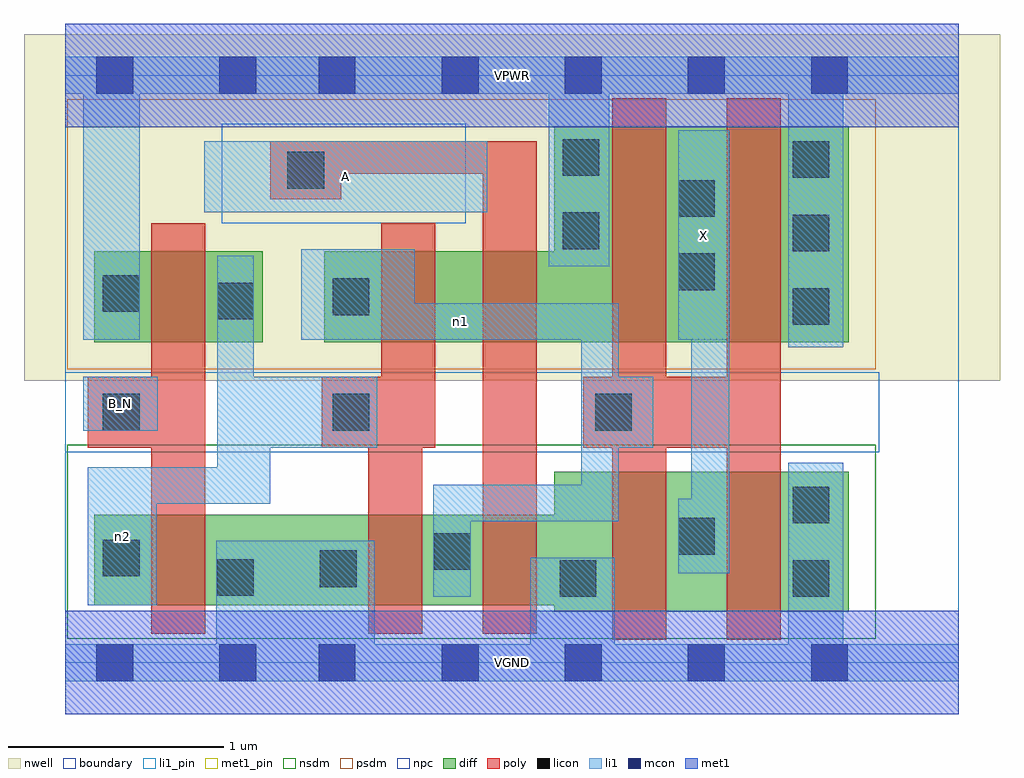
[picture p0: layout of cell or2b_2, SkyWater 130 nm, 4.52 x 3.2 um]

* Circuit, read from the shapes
.subckt or2b_2 A B_N VGND VPWR X n1 n2
XM1 VGND B_N n2 VSUBS sky130_fd_pr__nfet_01v8 w=0.42 l=0.25
XM2 n1 n2 VGND VSUBS sky130_fd_pr__nfet_01v8 w=0.42 l=0.25
XM3 VGND A n1 VSUBS sky130_fd_pr__nfet_01v8 w=0.42 l=0.25
XM4 X n1 VGND VSUBS sky130_fd_pr__nfet_01v8 w=0.65 l=0.25 m=2
XM5 n2 B_N VPWR n3 sky130_fd_pr__pfet_01v8 w=0.42 l=0.25
XM6 n4 n2 n1 n3 sky130_fd_pr__pfet_01v8 w=0.42 l=0.25
XM7 VPWR A n4 n3 sky130_fd_pr__pfet_01v8 w=0.42 l=0.25
XM8 X n1 VPWR n3 sky130_fd_pr__pfet_01v8 w=1 l=0.25 m=2
.ends

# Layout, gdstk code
import gdstk
lib = gdstk.Library(unit=1e-6, precision=1e-09)
def R(c, l, rs):  # rectangles x0, y0, x1, y1
    for r in rs: c.add(gdstk.rectangle(r[:2], r[2:], *l))
def A(c, l, x, y, w, h, nx, ny, dx, dy):  # array of equal rectangles
    R(c, l, [(x+i*dx, y+j*dy, x+i*dx+w, y+j*dy+h) for i in range(nx) for j in range(ny)])
nwell = (64, 20)
diff = (65, 20)
poly = (66, 20)
licon = (66, 44)
li1_pin = (67, 16)
li1 = (67, 20)
mcon = (67, 44)
met1_pin = (68, 16)
met1 = (68, 20)
nsdm = (93, 44)
psdm = (94, 20)
npc = (95, 20)
boundary = (235, 4)

or2b_2 = lib.new_cell('or2b_2')
R(or2b_2, nwell, [(-0.19,1.305,4.33,2.91), (0,1.305,4.14,2.91)])
R(or2b_2, diff, [(2.265,0.235,3.63,0.885), (0.135,0.265,3.63,0.685), (0.135,1.485,0.915,1.905), (1.2,1.485,3.63,1.905), (2.265,1.485,3.63,2.485)])
R(or2b_2, poly, [(2.535,0.105,2.785,2.615), (3.065,0.105,3.315,2.615), (0.4,0.135,0.65,2.035), (1.405,0.135,1.655,1.325), (1.935,0.135,2.185,2.415), (0.105,0.995,0.65,1.325), (1.19,0.995,1.715,1.325), (1.465,0.995,1.715,2.035), (2.4,0.995,3.315,1.325), (0.95,2.145,1.28,2.415), (0.95,2.265,2.185,2.415)])
A(or2b_2, licon, 3.37, 1.565, 0.17, 0.17, 1, 3, 0, 0.34)
R(or2b_2, licon, [(2.29,0.305,2.46,0.475), (3.37,0.305,3.54,0.475), (0.705,0.31,0.875,0.48), (1.18,0.35,1.35,0.52), (0.175,0.4,0.345,0.57), (1.71,0.43,1.88,0.6), (2.84,0.5,3.01,0.67), (3.37,0.645,3.54,0.815), (0.175,1.075,0.345,1.245), (1.24,1.075,1.41,1.245), (2.455,1.075,2.625,1.245), (0.705,1.59,0.875,1.76), (1.24,1.61,1.41,1.78), (0.175,1.625,0.345,1.795), (2.84,1.725,3.01,1.895), (2.305,1.915,2.475,2.085), (2.84,2.065,3.01,2.235), (1.03,2.195,1.2,2.365), (2.305,2.255,2.475,2.425)])
R(or2b_2, li1_pin, [(0.085,1.075,0.43,1.325), (2.84,1.495,3.075,2.465), (0.645,2.085,1.955,2.415)])
R(or2b_2, li1, [(0,-0.085,4.14,0.085), (0.7,-0.085,1.435,0.565), (2.155,-0.085,2.545,0.485), (3.35,-0.085,3.605,0.925), (0.105,0.265,0.425,0.905), (1.705,0.305,1.88,0.825), (2.84,0.415,3.075,0.76), (2.9,0.415,3.075,2.465), (1.705,0.655,2.565,0.825), (2.39,0.655,2.565,1.665), (0.105,0.735,0.95,0.905), (0.705,0.735,0.875,1.885), (0.705,0.735,0.95,1.325), (0.705,0.995,1.445,1.325), (2.39,0.995,2.725,1.325), (0.085,1.075,0.43,1.325), (3.35,1.46,3.605,2.805), (0.085,1.495,0.345,2.805), (1.095,1.495,2.565,1.665), (1.095,1.495,1.62,1.915), (2.84,1.495,3.075,2.465), (2.24,1.835,2.52,2.805), (0.645,2.085,1.955,2.415), (0,2.635,4.14,2.805)])
A(or2b_2, mcon, 1.175, -0.085, 0.17, 0.17, 5, 2, 0.57, 2.72)
R(or2b_2, mcon, [(0.145,-0.085,0.315,0.085), (0.715,-0.085,0.885,0.085), (0.145,2.635,0.315,2.805), (0.715,2.635,0.885,2.805)])
R(or2b_2, met1_pin, [(0,-0.24,4.14,0.24), (0,2.48,4.14,2.96)])
R(or2b_2, met1, [(0,-0.24,4.14,0.24), (0,2.48,4.14,2.96)])
R(or2b_2, nsdm, [(0.01,0.11,3.755,1.01)])
R(or2b_2, psdm, [(0.01,1.36,3.755,2.61)])
R(or2b_2, npc, [(0,0.975,3.77,1.345), (0.725,2.035,1.855,2.495)])
R(or2b_2, boundary, [(0,0,4.14,2.72)])
or2b_2.add(gdstk.Label('A', (1.3,2.25), layer=67, texttype=5))
or2b_2.add(gdstk.Label('B_N', (0.257,1.2), layer=67, texttype=5))
or2b_2.add(gdstk.Label('X', (2.957,1.98), layer=67, texttype=5))
or2b_2.add(gdstk.Label('n2', (0.265,0.585), layer=67, texttype=5))
or2b_2.add(gdstk.Label('n1', (1.83,1.58), layer=67, texttype=5))
or2b_2.add(gdstk.Label('VPWR', (2.07,2.72), layer=68, texttype=5))
or2b_2.add(gdstk.Label('VGND', (2.07,0), layer=68, texttype=5))
or2b_2.add(gdstk.Label('A', (1.3,2.25), layer=67, texttype=16))
or2b_2.add(gdstk.Label('B_N', (0.257,1.2), layer=67, texttype=16))
or2b_2.add(gdstk.Label('X', (2.957,1.98), layer=67, texttype=16))
or2b_2.add(gdstk.Label('VPWR', (2.07,2.72), layer=68, texttype=16))
or2b_2.add(gdstk.Label('VGND', (2.07,0), layer=68, texttype=16))

lib.write_gds('or2b_2.gds')
